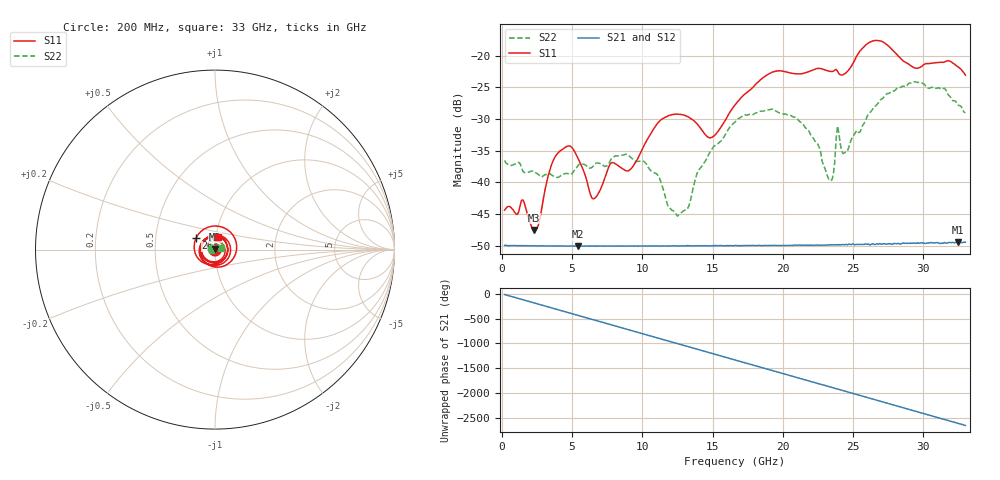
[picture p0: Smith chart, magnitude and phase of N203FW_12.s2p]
# GHZ S RI R 50
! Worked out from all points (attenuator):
!   329 points, 200 MHz to 33 GHz, reference 50 ohm
!   highest |S21| = -49.45 dB at 32.5 GHz (marker M1); lowest = -50.1 dB at 5.4 GHz (marker M2)
!   lowest |S11| = -47.5 dB at 2.3 GHz (marker M3), VSWR 1.01, Z = 50.1 + j0.397 ohm
!   |S11| at or under -10 dB: start of sweep to end of sweep
!   |S22| runs from -45.3 to -24.1 dB; largest |S21 - S12| = 8.8e-05
!   S11 on the Smith chart (normalised r, x): 200 MHz: 1.01, +0.00; 26 GHz: 0.80, +0.10; 33 GHz: 1.03, +0.14
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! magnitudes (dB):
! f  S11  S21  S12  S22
! 200 MHz  -44.4  -50.0  -49.9  -36.6
! 1.5 GHz  -42.8  -50.0  -50.0  -38.2
! 2.3 GHz  -47.5  -50.0  -50.0  -38.3
! 3.8 GHz  -35.9  -50.0  -50.0  -39.1
! 5.4 GHz  -36.1  -50.1  -50.0  -37.4
! 5.7 GHz  -37.5  -50.1  -50.0  -37.1
! 6.6 GHz  -42.5  -50.1  -50.1  -37.2
! 8.9 GHz  -38.2  -50.0  -50.1  -35.6
! 11.2 GHz  -30.4  -50.1  -50.0  -39.2
! 11.9 GHz  -29.4  -50.0  -50.0  -44.0
! 13.2 GHz  -29.6  -50.0  -50.0  -44.2
! 14.9 GHz  -32.9  -50.0  -50.0  -35.0
! 16.6 GHz  -27.8  -50.0  -50.0  -30.5
! 19.3 GHz  -22.6  -49.9  -50.0  -28.5
! 22.1 GHz  -22.3  -49.9  -49.9  -32.8
! 23.4 GHz  -22.5  -49.8  -49.9  -39.7
! 23.9 GHz  -22.5  -49.9  -49.9  -31.1
! 24.3 GHz  -23.0  -49.8  -49.8  -35.5
! 26 GHz  -18.2  -49.8  -49.7  -29.6
! 27.6 GHz  -18.6  -49.7  -49.7  -25.9
! 32.5 GHz  -21.8  -49.4  -49.4  -27.8
! 33 GHz  -23.1  -49.5  -49.5  -29.0
